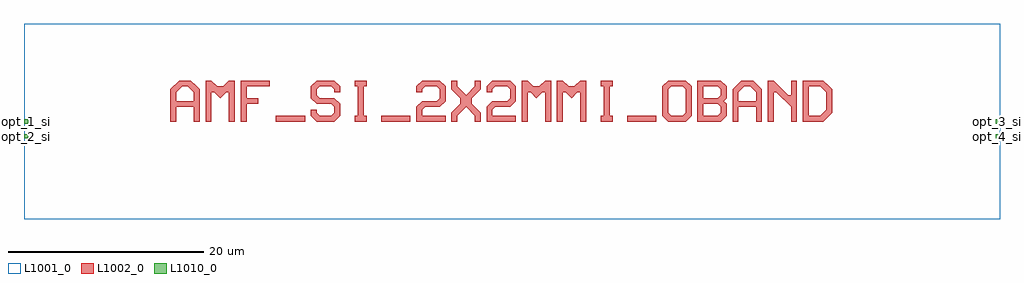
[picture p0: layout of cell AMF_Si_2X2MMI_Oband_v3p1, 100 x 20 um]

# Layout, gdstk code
import gdstk
lib = gdstk.Library(unit=1e-6, precision=1e-09)
def R(c, l, rs):  # rectangles x0, y0, x1, y1
    for r in rs: c.add(gdstk.rectangle(r[:2], r[2:], *l))
def P(c, l, *ps):  # polygons
    for p in ps: c.add(gdstk.Polygon(p, *l))
L1001_0 = (1001, 0)
L1002_0 = (1002, 0)
L1010_0 = (1010, 0)

amf_si_2x2mmi_oband_v3p1 = lib.new_cell('AMF_Si_2X2MMI_Oband_v3p1')
R(amf_si_2x2mmi_oband_v3p1, L1001_0, [(0,-9.25,100,10.75)])
R(amf_si_2x2mmi_oband_v3p1, L1002_0, [(25.8,0.75,28.8,1.35), (36.6,0.75,39.6,1.35), (61.8,0.75,64.8,1.35)])
P(amf_si_2x2mmi_oband_v3p1, L1002_0, [(15,0.75),(15,4.05),(15.9,4.95),(17.1,4.95),(17.7,4.35),(16.2,4.35),(15.6,3.75),(15.6,2.85),(17.4,2.85),(17.4,3.75),(16.8,4.35),(17.7,4.35),(18,4.05),(18,0.75),(17.4,0.75),(17.4,2.25),(15.6,2.25),(15.6,0.75)],
  [(18.6,0.75),(18.6,4.95),(19.2,4.95),(19.8,4.35),(20.4,4.35),(21,4.95),(21.6,4.95),(21.6,0.75),(21,0.75),(21,3.75),(20.7,3.75),(20.1,3.15),(19.5,3.75),(19.2,3.75),(19.2,0.75)],
  [(22.2,0.75),(22.2,4.95),(25.2,4.95),(25.2,4.35),(22.8,4.35),(22.8,3.15),(24,3.15),(24,2.55),(22.8,2.55),(22.8,0.75)],
  [(30,0.75),(29.4,1.35),(29.4,1.95),(30,1.95),(30,1.65),(30.3,1.35),(31.5,1.35),(31.8,1.65),(31.8,2.25),(31.5,2.55),(30,2.55),(29.4,3.15),(29.4,4.35),(30,4.95),(31.8,4.95),(32.4,4.35),(32.4,3.75),(31.8,3.75),(31.8,4.05),(31.5,4.35),(30.3,4.35),(30,4.05),(30,3.45),(30.3,3.15),(31.8,3.15),(32.4,2.55),(32.4,1.35),(31.8,0.75)],
  [(33.9,0.75),(33.9,1.35),(34.2,1.35),(34.2,4.35),(33.9,4.35),(33.9,4.95),(35.1,4.95),(35.1,4.35),(34.8,4.35),(34.8,1.35),(35.1,1.35),(35.1,0.75)],
  [(40.2,0.75),(40.2,2.25),(40.8,2.85),(42.3,2.85),(42.6,3.15),(42.6,4.05),(42.3,4.35),(41.1,4.35),(40.8,4.05),(40.8,3.75),(40.2,3.75),(40.2,4.35),(40.8,4.95),(42.6,4.95),(43.2,4.35),(43.2,2.85),(42.6,2.25),(41.1,2.25),(40.8,1.95),(40.8,1.35),(43.2,1.35),(43.2,0.75)],
  [(43.8,0.75),(43.8,1.65),(44.7,2.55),(44.7,3.15),(43.8,4.05),(43.8,4.95),(44.4,4.95),(44.4,4.35),(45.3,3.45),(46.2,4.35),(46.2,4.95),(46.8,4.95),(46.8,4.05),(45.9,3.15),(45.9,2.55),(46.8,1.65),(46.8,0.75),(46.2,0.75),(46.2,1.35),(45.3,2.25),(44.4,1.35),(44.4,0.75)],
  [(47.4,0.75),(47.4,2.25),(48,2.85),(49.5,2.85),(49.8,3.15),(49.8,4.05),(49.5,4.35),(48.3,4.35),(48,4.05),(48,3.75),(47.4,3.75),(47.4,4.35),(48,4.95),(49.8,4.95),(50.4,4.35),(50.4,2.85),(49.8,2.25),(48.3,2.25),(48,1.95),(48,1.35),(50.4,1.35),(50.4,0.75)],
  [(51,0.75),(51,4.95),(51.6,4.95),(52.2,4.35),(52.8,4.35),(53.4,4.95),(54,4.95),(54,0.75),(53.4,0.75),(53.4,3.75),(53.1,3.75),(52.5,3.15),(51.9,3.75),(51.6,3.75),(51.6,0.75)],
  [(54.6,0.75),(54.6,4.95),(55.2,4.95),(55.8,4.35),(56.4,4.35),(57,4.95),(57.6,4.95),(57.6,0.75),(57,0.75),(57,3.75),(56.7,3.75),(56.1,3.15),(55.5,3.75),(55.2,3.75),(55.2,0.75)],
  [(59.1,0.75),(59.1,1.35),(59.4,1.35),(59.4,4.35),(59.1,4.35),(59.1,4.95),(60.3,4.95),(60.3,4.35),(60,4.35),(60,1.35),(60.3,1.35),(60.3,0.75)],
  [(66,0.75),(65.4,1.35),(65.4,4.35),(66,4.95),(67.8,4.95),(68.4,4.35),(68.4,2.85),(67.8,2.85),(67.8,4.05),(67.5,4.35),(66.3,4.35),(66,4.05),(66,1.65),(66.3,1.35),(67.5,1.35),(67.8,1.65),(67.8,2.85),(68.4,2.85),(68.4,1.35),(67.8,0.75)],
  [(69,0.75),(69,4.95),(71.4,4.95),(72,4.35),(69.6,4.35),(69.6,3.15),(71.1,3.15),(71.4,3.45),(71.4,4.05),(71.1,4.35),(72,4.35),(72,3.15),(71.7,2.85),(72,2.55),(69.6,2.55),(69.6,1.35),(71.1,1.35),(71.4,1.65),(71.4,2.25),(71.1,2.55),(72,2.55),(72,1.35),(71.4,0.75)],
  [(72.6,0.75),(72.6,4.05),(73.5,4.95),(74.7,4.95),(75.3,4.35),(73.8,4.35),(73.2,3.75),(73.2,2.85),(75,2.85),(75,3.75),(74.4,4.35),(75.3,4.35),(75.6,4.05),(75.6,0.75),(75,0.75),(75,2.25),(73.2,2.25),(73.2,0.75)],
  [(76.2,0.75),(76.2,4.95),(76.8,4.95),(78.3,3.45),(78.6,3.45),(78.6,4.95),(79.2,4.95),(79.2,0.75),(78.6,0.75),(78.6,2.25),(77.1,3.75),(76.8,3.75),(76.8,0.75)],
  [(79.8,0.75),(79.8,4.95),(81.9,4.95),(82.5,4.35),(80.4,4.35),(80.4,1.35),(81.6,1.35),(82.2,1.95),(82.2,3.75),(81.6,4.35),(82.5,4.35),(82.8,4.05),(82.8,1.65),(81.9,0.75)])
R(amf_si_2x2mmi_oband_v3p1, L1010_0, [(0,-0.955,0.41,-0.545), (99.59,-0.955,100,-0.545), (0,0.545,0.41,0.955), (99.59,0.545,100,0.955)])
amf_si_2x2mmi_oband_v3p1.add(gdstk.Label('opt_3_si', (100,0.75), layer=1010, texttype=0))
amf_si_2x2mmi_oband_v3p1.add(gdstk.Label('opt_4_si', (100,-0.75), layer=1010, texttype=0))
amf_si_2x2mmi_oband_v3p1.add(gdstk.Label('opt_1_si', (0,0.75), layer=1010, texttype=0))
amf_si_2x2mmi_oband_v3p1.add(gdstk.Label('opt_2_si', (0,-0.75), layer=1010, texttype=0))

lib.write_gds('AMF_Si_2X2MMI_Oband_v3p1.gds')
